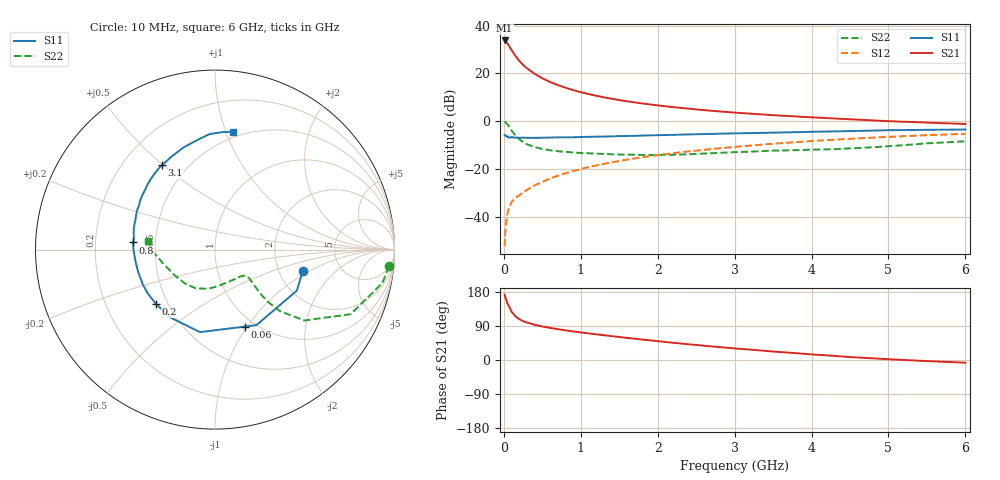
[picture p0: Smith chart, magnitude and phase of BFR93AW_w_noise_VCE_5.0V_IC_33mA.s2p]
! Infineon Technologies  Discrete & RF Semiconductors
! BFR93AW
! VCE =  5.0 V,  IC =  33 mA
! Common Emitter S-Parameters:  Jan 2017
# GHz  S  MA  R  50
!  f  S11  S21  S12  S22
! GHz  MAG  ANG  MAG  ANG  MAG  ANG  MAG  ANG
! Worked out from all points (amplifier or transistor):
!   77 points, 10 MHz to 6 GHz, reference 50 ohm
!   highest |S21| = 33.7 dB at 10 MHz (marker M1)
!   |S21| within 3 dB of that: start of sweep to 80.13 MHz
!   unconditionally stable (mu >= 1): 582.4 MHz to 1.994 GHz
!   at 130 MHz: K = 0.54, MSG = 30.6 dB, |S12| = -32.9 dB
!   at 2.2 GHz: K = 0.99, MSG = 9.6 dB, |S12| = -13.5 dB
!   at 6 GHz: K = 0.88, MSG = 2.1 dB, |S12| = -5.3 dB
!   lowest NFmin = 1.88 dB at 450 MHz
!   S11 on the Smith chart (normalised r, x): 10 MHz: 2.73, -0.85; 60 MHz: 0.90, -0.98; 200 MHz: 0.43, -0.33; 800 MHz: 0.37, +0.04; 3.1 GHz: 0.36, +0.50; 6 GHz: 0.45, +1.06
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0.01  0.5036 -13.4  48.68 172.4  0.0024 82.9  0.974 -5.5
0.02  0.51 -26.6  47.95 165.6  0.0049 85.7  0.9506 -11.3
0.05  0.4801 -61.3  41.61 147.1  0.0125 69.4  0.8378 -25.4
0.06  0.4605 -68.6  39.1 144.0  0.014 67.1  0.7947 -27.5
0.1  0.4672 -100.3  30.65 126.9  0.0199 61.4  0.6359 -38.4
0.15  0.4526 -123.2  23.08 115.3  0.0245 59.5  0.5001 -43.4
0.2  0.4469 -137.2  18.22 107.8  0.0279 61.1  0.4171 -44.6
0.25  0.4473 -147.0  15 102.4  0.0322 60.7  0.3645 -44.3
0.3  0.4467 -154.2  12.66 98.7  0.0359 63.4  0.3274 -43.5
0.4  0.4458 -164.0  9.714 92.8  0.0448 66.5  0.2847 -41.8
0.5  0.4476 -170.8  7.838 88.4  0.0532 68.0  0.2599 -40.6
0.6  0.4506 -176.4  6.591 84.7  0.0629 68.8  0.2443 -39.9
0.7  0.4551 179.2  5.675 81.5  0.0712 70.2  0.2341 -39.8
0.8  0.4571 175.0  4.988 78.3  0.0808 70.6  0.2265 -40.4
0.9  0.457 171.6  4.442 75.5  0.0897 70.3  0.2204 -41.4
1.1  0.4678 165.2  3.68 70.4  0.1085 70.3  0.2116 -44.0
1.5  0.4831 154.7  2.751 60.7  0.1456 68.5  0.199 -53.0
2.1  0.5096 141.1  2.041 47.6  0.2029 64.1  0.1955 -72.6
3.1  0.5552 122.1  1.466 29.0  0.2968 55.1  0.2257 -105.4
4.1  0.5993 105.5  1.174 13.5  0.3897 44.9  0.2534 -134.7
5.1  0.645 91.7  0.981 1.1  0.4743 33.9  0.3051 -167.4
6  0.6648 81.2  0.868 -7.2  0.5404 23.7  0.3773 172.9
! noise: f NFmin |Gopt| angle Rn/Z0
0.45  1.88  0.2  177  0.16
0.9  2.14  0.27  -173  0.16
1.9  3.19  0.51  -134  0.3
2.4  3.85  0.56  -124  0.58
